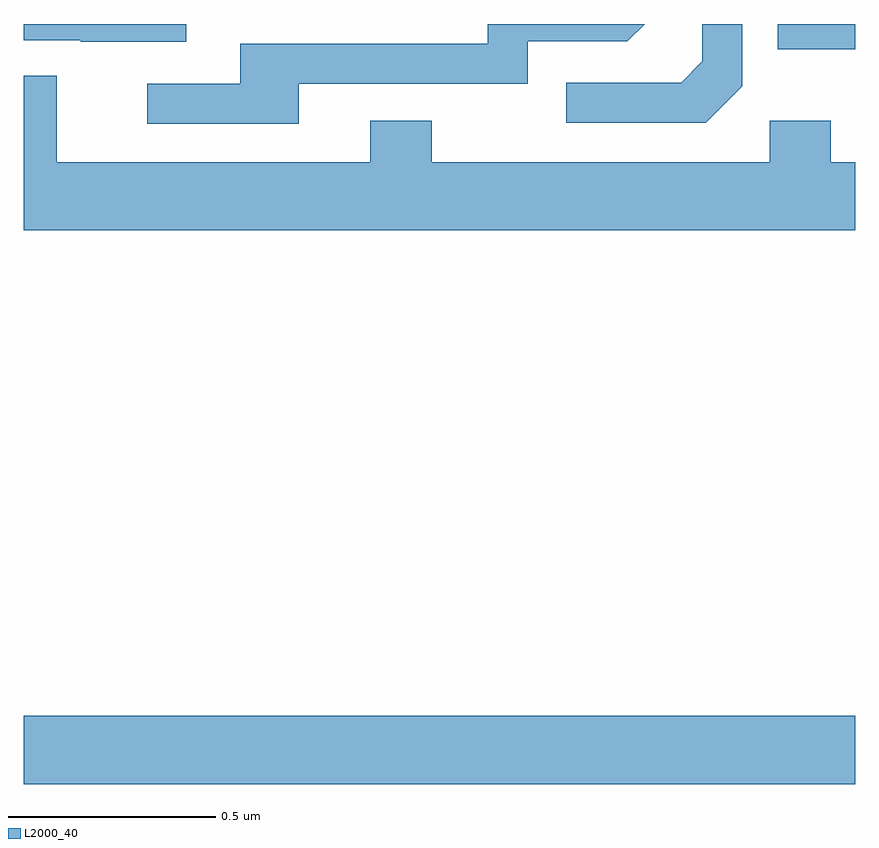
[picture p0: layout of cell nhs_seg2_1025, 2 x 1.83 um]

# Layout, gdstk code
import gdstk
lib = gdstk.Library(unit=1e-6, precision=1e-09)
def R(c, l, rs):  # rectangles x0, y0, x1, y1
    for r in rs: c.add(gdstk.rectangle(r[:2], r[2:], *l))
def P(c, l, *ps):  # polygons
    for p in ps: c.add(gdstk.Polygon(p, *l))
L2000_40 = (2000, 40)

nhs_seg2_1025 = lib.new_cell('nhs_seg2_1025')
R(nhs_seg2_1025, L2000_40, [(123,644.972,125,645.136), (124.813,646.739,125,646.8)])
P(nhs_seg2_1025, L2000_40, [(124.728,646.65),(124.728,646.8),(124.632,646.8),(124.632,646.71),(124.581,646.659),(124.305,646.659),(124.305,646.563),(124.641,646.563)],
  [(123.391,646.8),(123,646.8),(123,646.761),(123.137,646.761),(123.137,646.757),(123.391,646.757)],
  [(123.661,646.656),(124.212,646.656),(124.212,646.758),(124.452,646.758),(124.494,646.8),(124.116,646.8),(124.116,646.752),(123.521,646.752),(123.521,646.656),(123.297,646.656),(123.297,646.56),(123.661,646.56)],
  [(125,646.468),(124.941,646.468),(124.941,646.567),(124.794,646.567),(124.794,646.468),(123.981,646.468),(123.981,646.567),(123.833,646.567),(123.833,646.468),(123.079,646.468),(123.079,646.676),(123,646.676),(123,646.304),(125,646.304)])

lib.write_gds('nhs_seg2_1025.gds')
